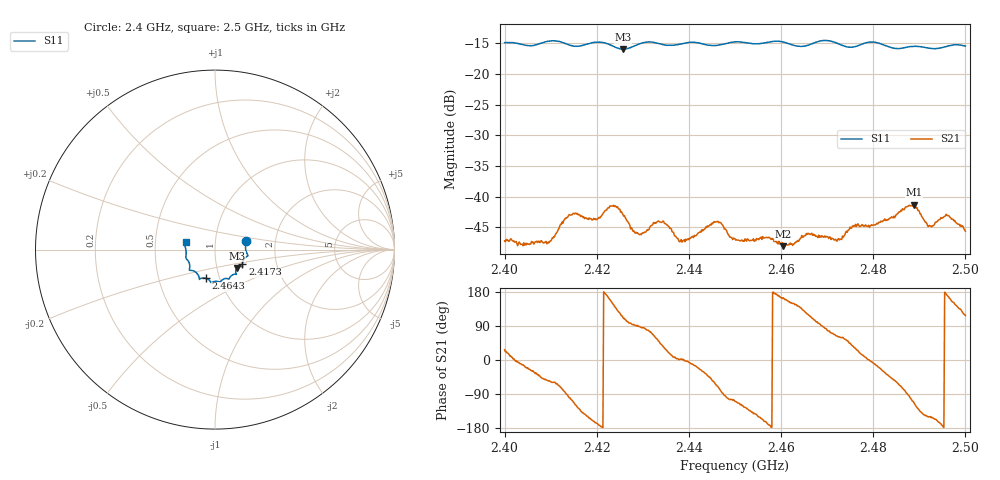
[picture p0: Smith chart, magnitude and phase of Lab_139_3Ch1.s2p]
# Hz S RI R 50
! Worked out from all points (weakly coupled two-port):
!   601 points, 2.4 GHz to 2.5 GHz, reference 50 ohm
!   highest |S21| = -41.34 dB at 2.4888 GHz (marker M1); lowest = -48.1 dB at 2.4605 GHz (marker M2)
!   lowest |S11| = -15.9 dB at 2.4257 GHz (marker M3), VSWR 1.38, Z = 62.5 - j13.1 ohm
!   |S11| at or under -10 dB: start of sweep to end of sweep
!   S12 and S22 are empty: the file has one direction only
!   S11 on the Smith chart (normalised r, x): 2.4 GHz: 1.41, +0.14; 2.4173 GHz: 1.34, -0.23; 2.4643 GHz: 0.86, -0.28; 2.5 GHz: 0.72, +0.06
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2.4e9  0.1734 0.0491  0.00387 0.00199  0 0  0 0
2.409667e9  0.1829 -0.0316  0.00244 -0.00343  0 0  0 0
2.413667e9  0.169 -0.0445  -0.000295 -0.00676  0 0  0 0
2.416667e9  0.1531 -0.0749  -0.00501 -0.00483  0 0  0 0
2.417333e9  0.1522 -0.0824  -0.00524 -0.00403  0 0  0 0
2.423333e9  0.1422 -0.0936  -0.00733 0.00406  0 0  0 0
2.425667e9  0.1227 -0.1021  -0.00273 0.0066  0 0  0 0
2.429167e9  0.1161 -0.132  0.000111 0.00492  0 0  0 0
2.433333e9  0.1131 -0.1371  0.00401 0.0049  0 0  0 0
2.438333e9  0.0815 -0.1561  0.00445 0.000154  0 0  0 0
2.445833e9  0.0489 -0.1639  0.00262 -0.00563  0 0  0 0
2.45e9  0.0294 -0.1806  -0.0015 -0.00427  0 0  0 0
2.4605e9  -0.025 -0.1808  -0.00378 0.00109  0 0  0 0
2.464333e9  -0.05 -0.1603  -0.0034 0.00309  0 0  0 0
2.466667e9  -0.0757 -0.1593  -0.0018 0.00468  0 0  0 0
2.4725e9  -0.089 -0.152  0.0022 0.00397  0 0  0 0
2.476e9  -0.1161 -0.1198  0.00485 0.00309  0 0  0 0
2.483333e9  -0.1408 -0.0896  0.00491 -0.00435  0 0  0 0
2.488833e9  -0.1617 -0.0469  -0.00336 -0.00789  0 0  0 0
2.492167e9  -0.1608 -0.0239  -0.005 -0.00296  0 0  0 0
2.496e9  -0.1672 0.019  -0.00693 0.00113  0 0  0 0
2.5e9  -0.1638 0.0422  -0.00239 0.00464  0 0  0 0
